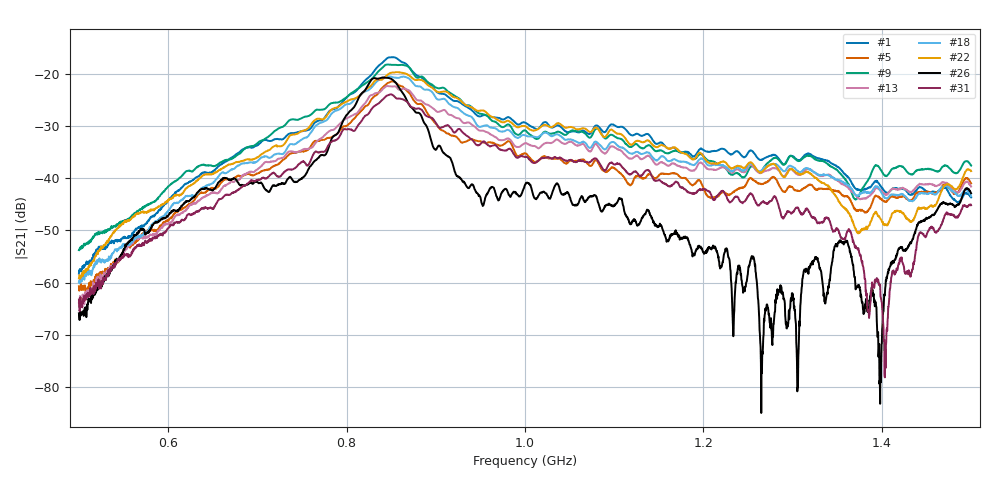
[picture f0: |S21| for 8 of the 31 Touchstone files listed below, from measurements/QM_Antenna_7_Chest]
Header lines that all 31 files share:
!Agilent Technologies,E8364B,US42250235,A.06.04.32
!Agilent E8364B: A.06.04.32
!Correction: S11(Full 2 Port(1,2)) S21(Full 2 Port(1,2)) S12(Full 2 Port(1,2)) S22(Full 2 Port(1,2))
!S2P File: Measurements: S11, S21, S12, S22:
# Hz S  dB  R 50
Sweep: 500 MHz to 1.5 GHz
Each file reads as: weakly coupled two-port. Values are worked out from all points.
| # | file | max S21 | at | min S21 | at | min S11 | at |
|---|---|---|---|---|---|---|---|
| 1 | 0_6.s2p | -16.86 dB | 852.6 MHz | -58.3 dB | 500 MHz | -39.1 dB | 822.4 MHz |
| 2 | 0_9.s2p | -20.87 dB | 867.3 MHz | -61.7 dB | 500.8 MHz | -46.3 dB | 972.3 MHz |
| 3 | 1_2.s2p | -23.54 dB | 858.6 MHz | -56.4 dB | 500 MHz | -35.8 dB | 729.1 MHz |
| 4 | 1_3.s2p | -23.20 dB | 861.3 MHz | -61.4 dB | 503.4 MHz | -36.0 dB | 1.036 GHz |
| 5 | 1_4.s2p | -21.47 dB | 851.1 MHz | -61.8 dB | 508.7 MHz | -45.3 dB | 958.7 MHz |
| 6 | 1_5.s2p | -22.19 dB | 854.5 MHz | -64.2 dB | 500 MHz | -36.5 dB | 980.2 MHz |
| 7 | 1_6.s2p | -24.04 dB | 854.5 MHz | -65.4 dB | 501.1 MHz | -36.6 dB | 1.065 GHz |
| 8 | 2_1.s2p | -19.14 dB | 839 MHz | -56.5 dB | 500.8 MHz | -25.8 dB | 1.257 GHz |
| 9 | 2_2.s2p | -18.26 dB | 845.8 MHz | -53.8 dB | 500 MHz | -37.3 dB | 735.9 MHz |
| 10 | 2_3.s2p | -20.09 dB | 862.4 MHz | -59.0 dB | 500 MHz | -50.7 dB | 779.7 MHz |
| 11 | 2_4.s2p | -20.50 dB | 845.4 MHz | -59.1 dB | 500.4 MHz | -29.3 dB | 1.035 GHz |
| 12 | 2_5.s2p | -21.47 dB | 854.1 MHz | -61.9 dB | 500 MHz | -38.3 dB | 1.125 GHz |
| 13 | 2_6.s2p | -22.37 dB | 845.4 MHz | -64.4 dB | 501.5 MHz | -40.4 dB | 1.097 GHz |
| 14 | 3_1.s2p | -14.67 dB | 839 MHz | -52.2 dB | 501.9 MHz | -21.5 dB | 905.1 MHz |
| 15 | 3_2.s2p | -16.40 dB | 853.7 MHz | -52.9 dB | 500.4 MHz | -26.1 dB | 748.4 MHz |
| 16 | 3_3.s2p | -17.13 dB | 844.7 MHz | -57.7 dB | 501.1 MHz | -29.6 dB | 1.12 GHz |
| 17 | 3_4.s2p | -19.16 dB | 849.2 MHz | -59.1 dB | 500.4 MHz | -30.9 dB | 1.028 GHz |
| 18 | 3_5.s2p | -20.53 dB | 847.7 MHz | -60.1 dB | 500.8 MHz | -38.9 dB | 1.131 GHz |
| 19 | 3_6.s2p | -21.20 dB | 846.9 MHz | -63.4 dB | 503.8 MHz | -33.8 dB | 1.134 GHz |
| 20 | 4_1.s2p | -18.78 dB | 849.6 MHz | -56.8 dB | 500 MHz | -33.9 dB | 1.269 GHz |
| 21 | 4_2.s2p | -17.89 dB | 849.2 MHz | -53.2 dB | 500.4 MHz | -36.1 dB | 1.058 GHz |
| 22 | 4_3.s2p | -19.70 dB | 856.4 MHz | -59.2 dB | 501.5 MHz | -32.6 dB | 1.029 GHz |
| 23 | 4_4.s2p | -20.02 dB | 849.2 MHz | -58.1 dB | 505.7 MHz | -34.3 dB | 1.033 GHz |
| 24 | 4_5.s2p | -20.81 dB | 863.2 MHz | -61.5 dB | 502.6 MHz | -54.8 dB | 1.115 GHz |
| 25 | 4_6.s2p | -22.19 dB | 849.6 MHz | -62.9 dB | 511.3 MHz | -32.5 dB | 1.098 GHz |
| 26 | 5_1.s2p | -20.72 dB | 840.9 MHz | -84.9 dB | 1.265 GHz | -40.3 dB | 1.048 GHz |
| 27 | 5_2.s2p | -24.16 dB | 850.7 MHz | -66.7 dB | 1.401 GHz | -31.2 dB | 1.242 GHz |
| 28 | 5_3.s2p | -20.84 dB | 849.2 MHz | -66.6 dB | 1.355 GHz | -45.0 dB | 995.3 MHz |
| 29 | 5_4.s2p | -20.82 dB | 849.6 MHz | -61.9 dB | 500.4 MHz | -51.0 dB | 910 MHz |
| 30 | 5_5.s2p | -25.46 dB | 850.7 MHz | -65.7 dB | 1.397 GHz | -56.5 dB | 968.5 MHz |
| 31 | 5_6.s2p | -23.95 dB | 849.6 MHz | -78.1 dB | 1.403 GHz | -48.5 dB | 1.181 GHz |
